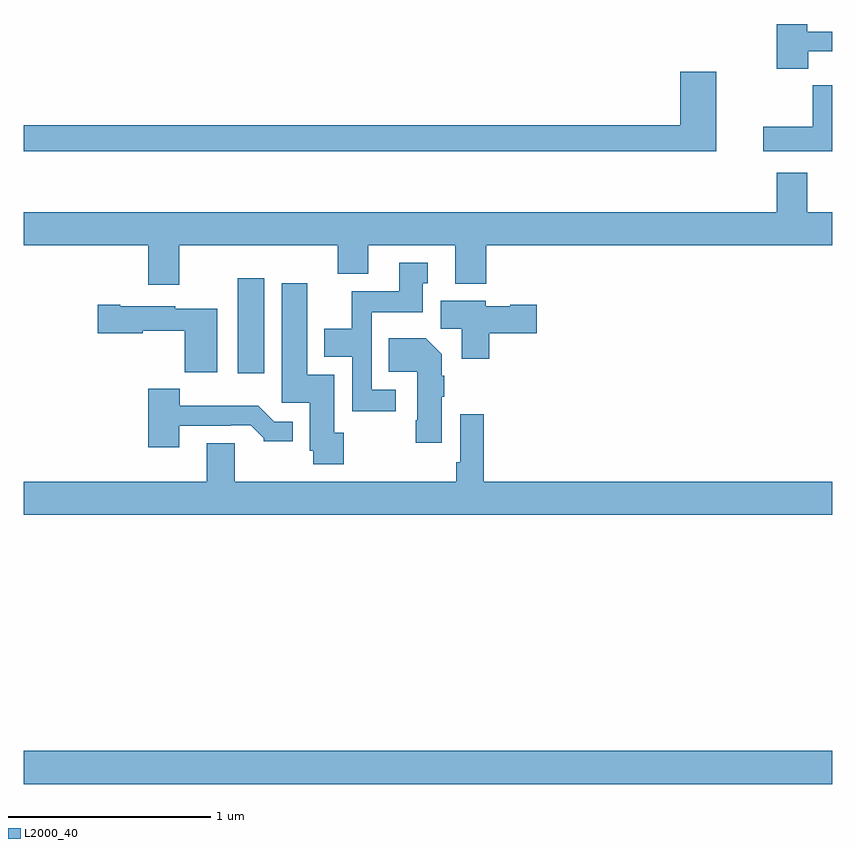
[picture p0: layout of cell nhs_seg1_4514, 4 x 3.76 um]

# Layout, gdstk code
import gdstk
lib = gdstk.Library(unit=1e-6, precision=1e-09)
def R(c, l, rs):  # rectangles x0, y0, x1, y1
    for r in rs: c.add(gdstk.rectangle(r[:2], r[2:], *l))
def P(c, l, *ps):  # polygons
    for p in ps: c.add(gdstk.Polygon(p, *l))
L2000_40 = (2000, 40)

nhs_seg1_4514 = lib.new_cell('nhs_seg1_4514')
R(nhs_seg1_4514, L2000_40, [(357,510.44,361,510.604), (358.058,512.472,358.189,512.941)])
P(nhs_seg1_4514, L2000_40, [(360.88,514.064),(361,514.064),(361,514.161),(360.877,514.161),(360.877,514.199),(360.725,514.199),(360.725,513.977),(360.88,513.977)],
  [(360.426,513.964),(360.248,513.964),(360.248,513.698),(357,513.698),(357,513.57),(360.426,513.57)],
  [(361,513.895),(360.904,513.895),(360.904,513.691),(360.657,513.691),(360.657,513.569),(361,513.569)],
  [(357.769,513.104),(358.553,513.104),(358.553,512.963),(358.705,512.963),(358.705,513.104),(359.135,513.104),(359.135,512.915),(359.288,512.915),(359.288,513.104),(361,513.104),(361,513.268),(360.877,513.268),(360.877,513.463),(360.725,513.463),(360.725,513.268),(357,513.268),(357,513.104),(357.617,513.104),(357.617,512.91),(357.769,512.91)],
  [(358.84,512.391),(358.722,512.391),(358.722,512.774),(358.975,512.774),(358.975,512.916),(358.999,512.916),(358.999,513.019),(358.859,513.019),(358.859,512.878),(358.624,512.878),(358.624,512.692),(358.487,512.692),(358.487,512.552),(358.626,512.552),(358.626,512.283),(358.84,512.283)],
  [(358.584,512.178),(358.537,512.178),(358.537,512.464),(358.402,512.464),(358.402,512.917),(358.277,512.917),(358.277,512.325),(358.415,512.325),(358.415,512.088),(358.432,512.088),(358.432,512.022),(358.584,512.022)],
  [(359.303,512.669),(359.539,512.669),(359.539,512.811),(359.406,512.811),(359.406,512.803),(359.286,512.803),(359.286,512.83),(359.063,512.83),(359.063,512.692),(359.168,512.692),(359.168,512.544),(359.303,512.544)],
  [(357.958,512.791),(357.75,512.791),(357.75,512.803),(357.478,512.803),(357.478,512.811),(357.366,512.811),(357.366,512.669),(357.588,512.669),(357.588,512.681),(357.796,512.681),(357.796,512.477),(357.958,512.477)],
  [(359.068,512.356),(359.081,512.356),(359.081,512.459),(359.068,512.459),(359.068,512.566),(358.99,512.644),(358.807,512.644),(358.807,512.48),(358.946,512.48),(358.946,512.239),(358.939,512.239),(358.939,512.127),(359.068,512.127)],
  [(357.769,512.211),(358.025,512.211),(358.025,512.214),(358.124,512.214),(358.188,512.15),(358.188,512.135),(358.33,512.135),(358.33,512.232),(358.239,512.232),(358.161,512.311),(357.772,512.311),(357.772,512.395),(357.617,512.395),(357.617,512.106),(357.769,512.106)],
  [(361,511.936),(359.276,511.936),(359.276,512.269),(359.16,512.269),(359.16,512.032),(359.14,512.032),(359.14,511.936),(358.045,511.936),(358.045,512.126),(357.905,512.126),(357.905,511.936),(357,511.936),(357,511.772),(361,511.772)])

lib.write_gds('nhs_seg1_4514.gds')
